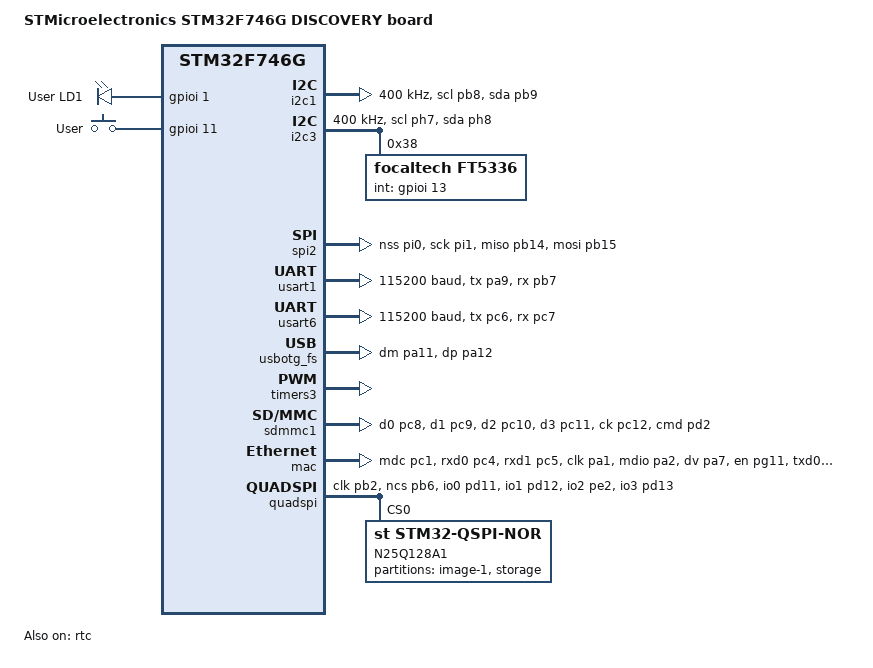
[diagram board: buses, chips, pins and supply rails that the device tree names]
/*
 * Copyright (c) 2018 Yurii Hamann
 *
 * SPDX-License-Identifier: Apache-2.0
 */

/dts-v1/;
#include <st/f7/stm32f746Xg.dtsi>
#include <st/f7/stm32f746nghx-pinctrl.dtsi>
#include "arduino_r3_connector.dtsi"

/ {
	model = "STMicroelectronics STM32F746G DISCOVERY board";
	compatible = "st,stm32f746g-disco";

	chosen {
		zephyr,console = &usart1;
		zephyr,shell-uart = &usart1;
		zephyr,sram = &sram0;
		zephyr,flash = &flash0;
		zephyr,dtcm = &dtcm;
		zephyr,flash-controller = &n25q128a1;
	};

	leds {
		compatible = "gpio-leds";
		green_led_1: led_1 {
			gpios = <&gpioi 1 GPIO_ACTIVE_HIGH>;
			label = "User LD1";
		};
	};

	gpio_keys {
		compatible = "gpio-keys";
		user_button: button {
			label = "User";
			gpios = <&gpioi 11 GPIO_ACTIVE_HIGH>;
		};
	};

	aliases {
		led0 = &green_led_1;
		sw0 = &user_button;
		kscan0 = &touch_controller;
	};
};

&i2c1 {
	pinctrl-0 = <&i2c1_scl_pb8 &i2c1_sda_pb9>;
	status = "okay";
	clock-frequency = <I2C_BITRATE_FAST>;
};

&i2c3 {
	pinctrl-0 = <&i2c3_scl_ph7 &i2c3_sda_ph8>;
	status = "okay";
	clock-frequency = <I2C_BITRATE_FAST>;

	touch_controller: ft5336@38 {
		compatible = "focaltech,ft5336";
		reg = <0x38>;
		label = "FT5336";
		int-gpios = <&gpioi 13 0>;
	};
};

&spi2 {
	pinctrl-0 = <&spi2_nss_pi0 &spi2_sck_pi1
		     &spi2_miso_pb14 &spi2_mosi_pb15>;
	status = "okay";
};

&usart1 {
	pinctrl-0 = <&usart1_tx_pa9 &usart1_rx_pb7>;
	current-speed = <115200>;
	status = "okay";
};

&usart6 {
	pinctrl-0 = <&usart6_tx_pc6 &usart6_rx_pc7>;
	current-speed = <115200>;
	status = "okay";
};

&usbotg_fs {
	pinctrl-0 = <&usb_otg_fs_dm_pa11 &usb_otg_fs_dp_pa12>;
	status = "okay";
};

&timers3 {
	status = "okay";

	pwm3: pwm {
		status = "okay";
		pinctrl-0 = <&tim3_ch1_pb4>;
	};
};

&rtc {
	status = "okay";
};

&sdmmc1 {
	status = "okay";
	pinctrl-0 = <&sdmmc1_d0_pc8 &sdmmc1_d1_pc9
		     &sdmmc1_d2_pc10 &sdmmc1_d3_pc11
		     &sdmmc1_ck_pc12 &sdmmc1_cmd_pd2>;
	cd-gpios = <&gpioc 13 GPIO_ACTIVE_LOW>;
};

&mac {
	status = "okay";
	pinctrl-0 = <&eth_mdc_pc1
		     &eth_rxd0_pc4
		     &eth_rxd1_pc5
		     &eth_ref_clk_pa1
		     &eth_mdio_pa2
		     &eth_crs_dv_pa7
		     &eth_tx_en_pg11
		     &eth_txd0_pg13
		     &eth_txd1_pg14>;
};

&quadspi {
	pinctrl-0 = <&quadspi_clk_pb2 &quadspi_bk1_ncs_pb6
		     &quadspi_bk1_io0_pd11 &quadspi_bk1_io1_pd12
		     &quadspi_bk1_io2_pe2 &quadspi_bk1_io3_pd13>;
	status = "okay";

	n25q128a1: qspi-nor-flash@0 {
		compatible = "st,stm32-qspi-nor";
		label = "N25Q128A1";
		reg = <0>;
		qspi-max-frequency = <72000000>;
		size = <DT_SIZE_M(16*8)>;
		status = "okay";

		partitions {
			compatible = "fixed-partitions";
			#address-cells = <1>;
			#size-cells = <1>;

			slot1_partition: partition@0 {
				label = "image-1";
				reg = <0x00000000 0x000a0000>;
				};

			storage_partition: partition@a0000 {
				label = "storage";
				reg = <0x000a0000 DT_SIZE_M(15)>;
			};
		};
	};
};
